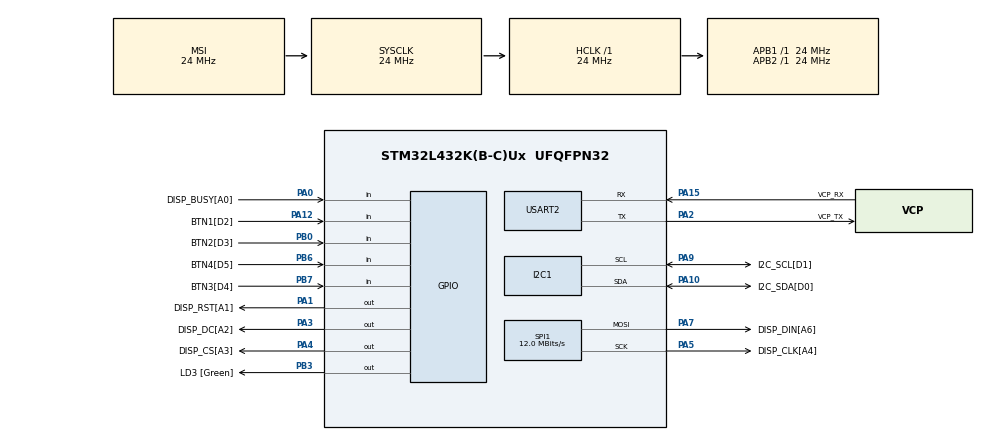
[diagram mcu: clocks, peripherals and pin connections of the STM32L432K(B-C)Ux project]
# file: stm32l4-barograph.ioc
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Mcu.Family=STM32L4
Dma.SPI1_TX.0.MemInc=DMA_MINC_ENABLE
ADC1.LowPowerAutoWait=ENABLE
Dma.SPI1_TX.0.PeriphInc=DMA_PINC_DISABLE
RCC.CortexFreq_Value=24000000
SPI1.VirtualType=VM_MASTER
ADC1.Overrun=ADC_OVR_DATA_OVERWRITTEN
NVIC.RTC_WKUP_IRQn=true\:0\:0\:false\:false\:true\:true\:true
PA0.GPIO_Label=DISP_BUSY[A0]
VP_RTC_VS_RTC_Activate.Mode=RTC_Enabled
PB0.GPIO_Label=BTN2[D3]
PB6.GPIO_Label=BTN4[D5]
PA15\ (JTDI).Signal=USART2_RX
PC15-OSC32_OUT\ (PC15).Mode=LSE-External-Oscillator
PA3.GPIO_Speed=GPIO_SPEED_FREQ_VERY_HIGH
ProjectManager.StackSize=0x400
PB3\ (JTDO-TRACESWO).Signal=GPIO_Output
PC14-OSC32_IN\ (PC14).Mode=LSE-External-Oscillator
NVIC.DMA1_Channel3_IRQn=true\:0\:0\:false\:false\:true\:false\:true
PA14\ (JTCK-SWCLK).Signal=SYS_JTCK-SWCLK
PA15\ (JTDI).Mode=Asynchronous
PA12.Signal=GPIO_Input
RCC.ADCCLockSelection=RCC_ADCCLKSOURCE_SYSCLK
SPI1.Direction=SPI_DIRECTION_2LINES
RCC.HCLKFreq_Value=24000000
RCC.APB2TimFreq_Value=24000000
PB6.Signal=GPIO_Input
SPI1.CalculateBaudRate=12.0 MBits/s
RCC.AHBFreq_Value=24000000
ADC1.Channel-0\#ChannelRegularConversion=ADC_CHANNEL_VREFINT
RCC.HSE_VALUE=8000000
USART2.VirtualMode-Asynchronous=VM_ASYNC
RCC.RTCClockSelection=RCC_RTCCLKSOURCE_LSE
RCC.PLLMUL=RCC_PLLMUL_4
PA4.GPIO_Speed=GPIO_SPEED_FREQ_VERY_HIGH
VP_ADC1_Vref_Input.Mode=IN-Vrefint
SPI1.DataSize=SPI_DATASIZE_8BIT
PA10.GPIO_Label=I2C_SDA[D0]
PB7.Signal=GPIO_Input
ADC1.SamplingTime-0\#ChannelRegularConversion=ADC_SAMPLETIME_640CYCLES_5
PA0.Signal=GPIO_Input
PB7.GPIO_Label=BTN3[D4]
Dma.SPI1_TX.0.Mode=DMA_NORMAL
Mcu.Package=UFQFPN32
ADC1.OversamplingMode=DISABLE
PA2.GPIO_Label=VCP_TX
PA10.Signal=I2C1_SDA
RCC.APB1TimFreq_Value=24000000
PA13\ (JTMS-SWDIO).Signal=SYS_JTMS-SWDIO
PA12.GPIO_PuPd=GPIO_PULLUP
Dma.Request0=SPI1_TX
SPI1.BaudRatePrescaler=SPI_BAUDRATEPRESCALER_2
PA4.GPIO_Label=DISP_CS[A3]
RCC.MSIClockRange=RCC_MSIRANGE_9
RCC.HSI48_VALUE=48000000
PA3.Signal=GPIO_Output
PA5.Mode=TX_Only_Simplex_Unidirect_Master
RCC.MSI_VALUE=24000000
PB7.GPIO_PuPd=GPIO_PULLUP
PA14\ (JTCK-SWCLK).Mode=Serial_Wire
ADC1.Rank-0\#ChannelRegularConversion=1
RTC.WakeUpCounter=1800
PA7.Mode=TX_Only_Simplex_Unidirect_Master
PA10.Mode=I2C
RTC.WakeUpClock=RTC_WAKEUPCLOCK_CK_SPRE_16BITS
ADC1.OffsetNumber-0\#ChannelRegularConversion=ADC_OFFSET_NONE
PA9.GPIO_Label=I2C_SCL[D1]
PB6.GPIO_PuPd=GPIO_PULLUP
RCC.I2C1CLockSelection=RCC_I2C1CLKSOURCE_SYSCLK
PC15-OSC32_OUT\ (PC15).Signal=RCC_OSC32_OUT
PA14\ (JTCK-SWCLK).GPIO_Label=SWCLK
PB3\ (JTDO-TRACESWO).GPIO_Label=LD3 [Green]
PA12.GPIO_Label=BTN1[D2]
RCC.PWR_Regulator_Voltage_Scale=PWR_REGULATOR_VOLTAGE_SCALE2
RCC.HSI16_VALUE=16000000
PA9.Mode=I2C
PA4.PinState=GPIO_PIN_SET
ProjectManager.TargetToolchain=STM32CubeIDE
Dma.SPI1_TX.0.PeriphDataAlignment=DMA_PDATAALIGN_BYTE
Dma.SPI1_TX.0.Direction=DMA_MEMORY_TO_PERIPH
PA9.Signal=I2C1_SCL
I2C1.Timing=0x00506682
RCC.USBFreq_Value=96000000
PA1.Signal=GPIO_Output
PA5.Signal=SPI1_SCK
board=NUCLEO-L432KC
RCC.VCOOutputFreq_Value=240000000
RCC.APB2Freq_Value=24000000
PA13\ (JTMS-SWDIO).GPIO_Label=SWDIO
SPI1.Mode=SPI_MODE_MASTER
PA1.GPIO_Speed=GPIO_SPEED_FREQ_VERY_HIGH
RCC.ADCFreq_Value=24000000
PA1.GPIO_Label=DISP_RST[A1]
Dma.SPI1_TX.0.Instance=DMA1_Channel3
ADC1.NbrOfConversion=1
PA15\ (JTDI).GPIO_Label=VCP_RX
Mcu.Name=STM32L432K(B-C)Ux
SPI1.NSSPMode=SPI_NSS_PULSE_ENABLE
PA2.Signal=USART2_TX
PA13\ (JTMS-SWDIO).Mode=Serial_Wire
PA4.Signal=GPIO_Output
RCC.SYSCLKFreq_VALUE=24000000
PA7.GPIO_Label=DISP_DIN[A6]
ADC1.master=1
PA5.GPIO_Label=DISP_CLK[A4]
PC14-OSC32_IN\ (PC14).Signal=RCC_OSC32_IN
ProjectManager.HeapSize=0x2200
Dma.SPI1_TX.0.MemDataAlignment=DMA_MDATAALIGN_BYTE
Dma.SPI1_TX.0.Priority=DMA_PRIORITY_LOW
RCC.HSI_VALUE=16000000
VP_RTC_VS_RTC_WakeUp_intern.Mode=WakeUp
NVIC.PriorityGroup=NVIC_PRIORITYGROUP_4
ADC1.NbrOfConversionFlag=1
RCC.PLLN=10
PA2.Mode=Asynchronous
RCC.USART2CLockSelection=RCC_USART2CLKSOURCE_SYSCLK
RCC.APB1Freq_Value=24000000
PB0.Signal=GPIO_Input
ADC1.ClockPrescaler=ADC_CLOCK_ASYNC_DIV1
PB0.GPIO_PuPd=GPIO_PULLUP
PA3.GPIO_Label=DISP_DC[A2]
PA7.Signal=SPI1_MOSI

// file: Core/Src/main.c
/* USER CODE BEGIN Header */
/**
  ******************************************************************************
  * @file           : main.c
  * @brief          : Main program body
  ******************************************************************************
  * @attention
  *
  * <h2><center>&copy; Copyright (c) 2020 STMicroelectronics.
  * All rights reserved.</center></h2>
  *
  * This software component is licensed by ST under BSD 3-Clause license,
  * the "License"; You may not use this file except in compliance with the
  * License. You may obtain a copy of the License at:
  *                        opensource.org/licenses/BSD-3-Clause
  *
  ******************************************************************************
  */
/* USER CODE END Header */

#include "main.h"
#include "adc.h"
#include "dma.h"
#include "i2c.h"
#include "rtc.h"
#include "spi.h"
#include "usart.h"
#include "gpio.h"

/* USER CODE BEGIN Includes */
#include <limits.h>
#include <stdarg.h>
#include <stdio.h>

/* USER CODE END Includes */

void SystemClock_Config(void);

/* USER CODE BEGIN 0 */
#pragma clang diagnostic push
#pragma ide diagnostic ignored "bugprone-reserved-identifier"
__unused int _write(__unused int handle, char *data, int size )
{
    HAL_UART_Transmit(&huart2, (uint8_t*)data, size, size);
    return size;
}
#pragma clang diagnostic pop

void reportError(const char *format, ...) {
    va_list(args);
    va_start(args, format);
    vprintf(format, args);
    va_end(args);
    MX_GPIO_Init();
    MX_USART2_UART_Init();
#pragma clang diagnostic push
#pragma ide diagnostic ignored "EndlessLoop"
    for (int i = 0; i < 100; i++) {
        HAL_GPIO_TogglePin(LD3_GPIO_Port, LD3_Pin);
        //Interrupts might be disabled, let's use delay loop instead of delay functions
        for (long long j = 0; j < 300000; ++j) {
            __NOP();
        }
    }
    HAL_NVIC_SystemReset();
    while (1);
#pragma clang diagnostic pop
}

void halError(const char * funcName, const HAL_StatusTypeDef status) {
    if (status != HAL_OK) {
        reportError("Function: %s; HAL reported: %d\r\n", funcName, status);
    }
}
/**
  * @brief  This function provides delay in milliseconds, optimized for energy consumption using Sleep mode
  *
  * @param  Delay specifies the delay time length, in milliseconds.
  * @retval None
  */
void HAL_Delay(uint32_t Delay)
{
  uint32_t tickstart = HAL_GetTick();
  uint32_t wait = Delay;

  /* Add freq to guarantee minimum wait */
  if (wait < HAL_MAX_DELAY)
  {
    wait += (uint32_t)(uwTickFreq);
  }

  while((HAL_GetTick() - tickstart) < wait)
  {
    __WFI();
  }
}

/* USER CODE END 0 */

int main(void)
{

  /* MCU Configuration--------------------------------------------------------*/

  /* Reset of all peripherals, Initializes the Flash interface and the Systick. */
  HAL_Init();

  /* Configure the system clock */
  SystemClock_Config();

  /* Initialize all configured peripherals */
  MX_GPIO_Init();
  MX_DMA_Init();
  MX_RTC_Init();
  MX_USART2_UART_Init();
  MX_I2C1_Init();
  MX_SPI1_Init();
  MX_ADC1_Init();
  /* USER CODE BEGIN 2 */
  __HAL_RCC_HSI48_DISABLE();
  __HAL_RCC_LSI_DISABLE();
  __HAL_RCC_HSI_DISABLE();
  /* USER CODE END 2 */

  /* Infinite loop */
  /* USER CODE BEGIN WHILE */
  if (HAL_RTCEx_SetWakeUpTimer_IT(&hrtc, 1800, RTC_WAKEUPCLOCK_CK_SPRE_16BITS) != HAL_OK)
  {
    Error_Handler();
  }
  cppMain(); //Infinite loop is implemented in C++ part
    /* USER CODE END WHILE */

}

void SystemClock_Config(void)
{
  RCC_OscInitTypeDef RCC_OscInitStruct = {0};
  RCC_ClkInitTypeDef RCC_ClkInitStruct = {0};
  RCC_PeriphCLKInitTypeDef PeriphClkInit = {0};

  /** Configure LSE Drive Capability
  */
  HAL_PWR_EnableBkUpAccess();
  __HAL_RCC_LSEDRIVE_CONFIG(RCC_LSEDRIVE_LOW);
  /** Initializes the CPU, AHB and APB busses clocks
  */
  RCC_OscInitStruct.OscillatorType = RCC_OSCILLATORTYPE_LSE|RCC_OSCILLATORTYPE_MSI;
  RCC_OscInitStruct.LSEState = RCC_LSE_ON;
  RCC_OscInitStruct.MSIState = RCC_MSI_ON;
  RCC_OscInitStruct.MSICalibrationValue = 0;
  RCC_OscInitStruct.MSIClockRange = RCC_MSIRANGE_9;
  RCC_OscInitStruct.PLL.PLLState = RCC_PLL_NONE;
  if (HAL_RCC_OscConfig(&RCC_OscInitStruct) != HAL_OK)
  {
    Error_Handler();
  }
  /** Initializes the CPU, AHB and APB busses clocks
  */
  RCC_ClkInitStruct.ClockType = RCC_CLOCKTYPE_HCLK|RCC_CLOCKTYPE_SYSCLK
                              |RCC_CLOCKTYPE_PCLK1|RCC_CLOCKTYPE_PCLK2;
  RCC_ClkInitStruct.SYSCLKSource = RCC_SYSCLKSOURCE_MSI;
  RCC_ClkInitStruct.AHBCLKDivider = RCC_SYSCLK_DIV1;
  RCC_ClkInitStruct.APB1CLKDivider = RCC_HCLK_DIV1;
  RCC_ClkInitStruct.APB2CLKDivider = RCC_HCLK_DIV1;

  if (HAL_RCC_ClockConfig(&RCC_ClkInitStruct, FLASH_LATENCY_4) != HAL_OK)
  {
    Error_Handler();
  }
  PeriphClkInit.PeriphClockSelection = RCC_PERIPHCLK_RTC|RCC_PERIPHCLK_USART2
                              |RCC_PERIPHCLK_I2C1|RCC_PERIPHCLK_ADC;
  PeriphClkInit.Usart2ClockSelection = RCC_USART2CLKSOURCE_SYSCLK;
  PeriphClkInit.I2c1ClockSelection = RCC_I2C1CLKSOURCE_SYSCLK;
  PeriphClkInit.AdcClockSelection = RCC_ADCCLKSOURCE_SYSCLK;
  PeriphClkInit.RTCClockSelection = RCC_RTCCLKSOURCE_LSE;
  if (HAL_RCCEx_PeriphCLKConfig(&PeriphClkInit) != HAL_OK)
  {
    Error_Handler();
  }
  /** Configure the main internal regulator output voltage
  */
  if (HAL_PWREx_ControlVoltageScaling(PWR_REGULATOR_VOLTAGE_SCALE2) != HAL_OK)
  {
    Error_Handler();
  }
  /** Enable MSI Auto calibration
  */
  HAL_RCCEx_EnableMSIPLLMode();
}

void Error_Handler(void)
{
  /* USER CODE BEGIN Error_Handler_Debug */
  reportError(__FUNCTION__ );
  /* USER CODE END Error_Handler_Debug */
}

/************************ (C) COPYRIGHT STMicroelectronics *****END OF FILE****/
